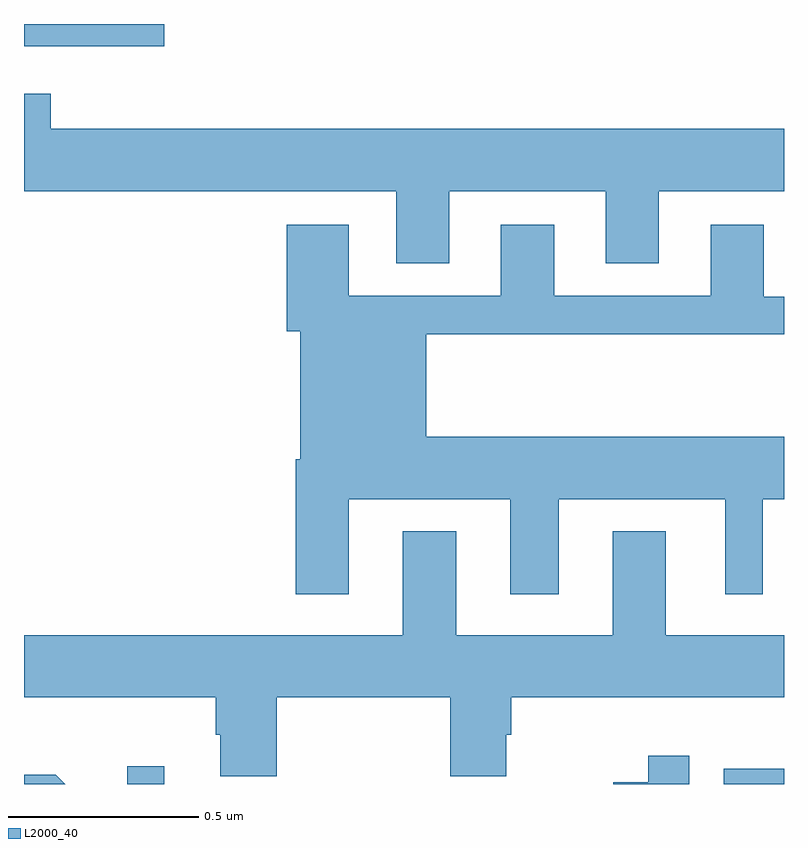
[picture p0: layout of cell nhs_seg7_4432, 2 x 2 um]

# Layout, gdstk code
import gdstk
lib = gdstk.Library(unit=1e-6, precision=1e-09)
def R(c, l, rs):  # rectangles x0, y0, x1, y1
    for r in rs: c.add(gdstk.rectangle(r[:2], r[2:], *l))
def P(c, l, *ps):  # polygons
    for p in ps: c.add(gdstk.Polygon(p, *l))
L2000_40 = (2000, 40)

nhs_seg7_4432 = lib.new_cell('nhs_seg7_4432')
R(nhs_seg7_4432, L2000_40, [(172.272,1055,172.369,1055.047), (173.841,1055,174,1055.04)])
P(nhs_seg7_4432, L2000_40, [(172.369,1057),(172,1057),(172,1056.942),(172.128,1056.942),(172.128,1056.941),(172.369,1056.941)],
  [(173.119,1056.56),(173.531,1056.56),(173.531,1056.37),(173.671,1056.37),(173.671,1056.56),(174,1056.56),(174,1056.724),(172.07,1056.724),(172.07,1056.817),(172,1056.817),(172,1056.56),(172.979,1056.56),(172.979,1056.37),(173.119,1056.37)],
  [(172.855,1055.75),(173.279,1055.75),(173.279,1055.499),(173.407,1055.499),(173.407,1055.75),(173.846,1055.75),(173.846,1055.499),(173.944,1055.499),(173.944,1055.75),(174,1055.75),(174,1055.914),(173.059,1055.914),(173.059,1056.184),(174,1056.184),(174,1056.282),(173.947,1056.282),(173.947,1056.472),(173.807,1056.472),(173.807,1056.285),(173.395,1056.285),(173.395,1056.472),(173.255,1056.472),(173.255,1056.285),(172.855,1056.285),(172.855,1056.472),(172.691,1056.472),(172.691,1056.192),(172.727,1056.192),(172.727,1055.854),(172.715,1055.854),(172.715,1055.499),(172.855,1055.499)],
  [(172.665,1055.228),(173.122,1055.228),(173.122,1055.02),(173.269,1055.02),(173.269,1055.13),(173.282,1055.13),(173.282,1055.228),(174,1055.228),(174,1055.392),(173.689,1055.392),(173.689,1055.665),(173.549,1055.665),(173.549,1055.392),(173.137,1055.392),(173.137,1055.665),(172.997,1055.665),(172.997,1055.392),(172,1055.392),(172,1055.228),(172.505,1055.228),(172.505,1055.13),(172.517,1055.13),(172.517,1055.02),(172.665,1055.02)],
  [(173.751,1055.074),(173.643,1055.074),(173.643,1055.004),(173.55,1055.004),(173.55,1055),(173.751,1055)],
  [(172.084,1055.024),(172,1055.024),(172,1055),(172.108,1055)])

lib.write_gds('nhs_seg7_4432.gds')
